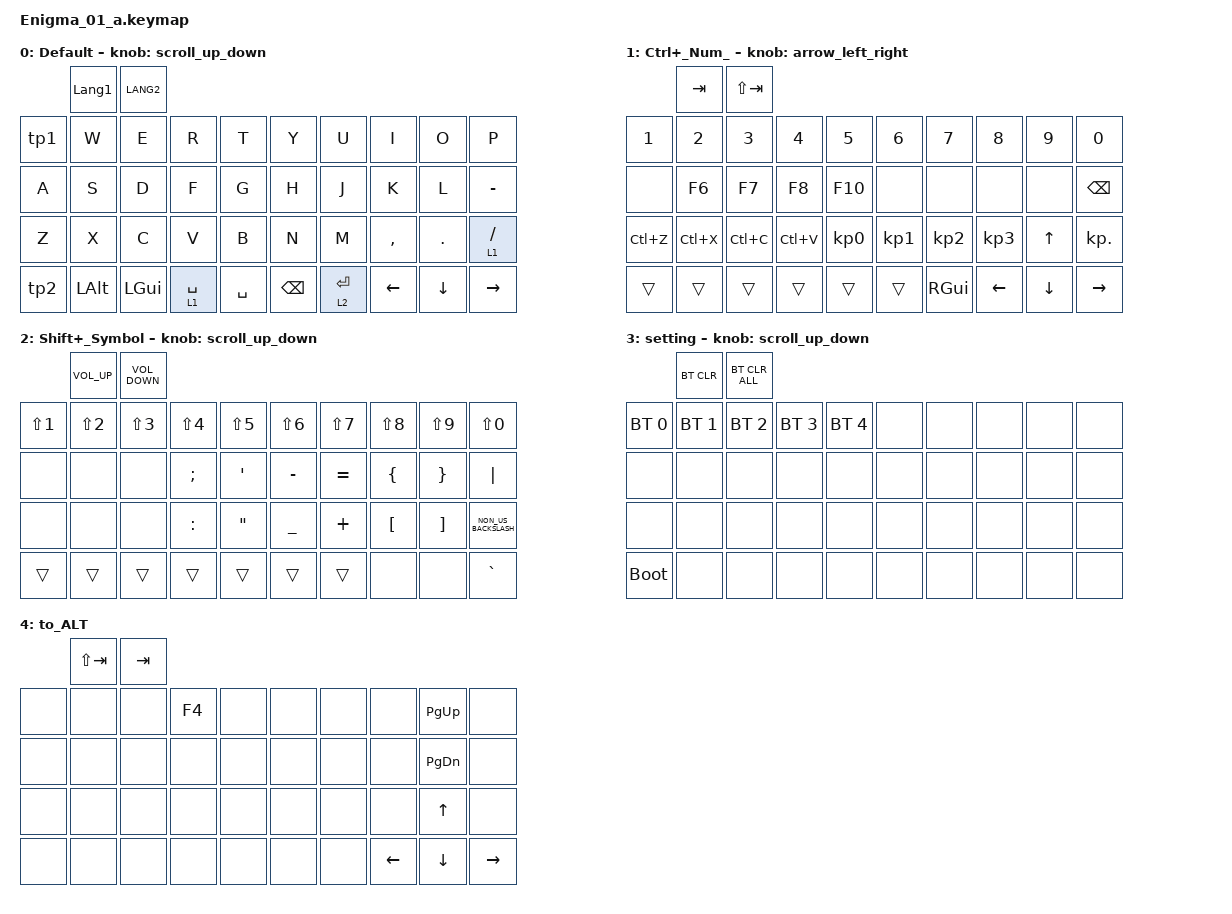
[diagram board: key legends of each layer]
#include <behaviors.dtsi>
#include <dt-bindings/zmk/bt.h>
#include <dt-bindings/zmk/keys.h>
#include <dt-bindings/zmk/pointing.h>

#define ZMK_POINTING_DEFAULT_SCRL_VAL 100

/ {
    // zmk-listeners

    layer_listeners {
        compatible = "zmk,layer-listeners";

        release_alt {
            layers = <4>;
            bindings = <&kt_on LEFT_ALT &kt_off LEFT_ALT>;
        };
    };

    macros {
        // zmk-listeners

        to_kp: to_kp {
            compatible = "zmk,behavior-macro-two-param";
            #binding-cells = <2>;
            bindings = <&macro_param_1to1 &to MACRO_PLACEHOLDER &macro_param_2to1 &kp MACRO_PLACEHOLDER>;
            label = "to_kp";
        };

        // zmk-listeners

        mo_to_0: mo_to_0 {
            compatible = "zmk,behavior-macro-one-param";
            wait-ms = <0>;
            tap-ms = <0>;
            #binding-cells = <1>;
            bindings =
                <&macro_press>,
                <&macro_param_1to1 &mo MACRO_PLACEHOLDER>,
                <&macro_tap>,
                <&macro_pause_for_release>,
                <&macro_release>,
                <&macro_param_1to1 &mo MACRO_PLACEHOLDER>,
                <&macro_tap>,
                <&to 0>;

            label = "MO_to_0";
        };
    };

    behaviors {
        // Layout shift

        original_key_press: original_key_press {
            compatible = "zmk,behavior-key-press";
            #binding-cells = <1>;
            label = "KEY_PRESS";
        };

        // Layout shift

        kp: key_press {
            compatible = "zmk,behavior-layout-shift-key-press";
            #binding-cells = <1>;
            label = "LAYOUT_SHIFT_KEY_PRESS";
        };

        // zmk-listeners

        kt_on: key_toggle_on_only {
            compatible = "zmk,behavior-key-toggle";
            #binding-cells = <1>;
            display-name = "Key Toggle On";
            toggle-mode = "on";
        };

        // zmk-listeners

        kt_off: key_toggle_off_only {
            compatible = "zmk,behavior-key-toggle";
            #binding-cells = <1>;
            display-name = "Key Toggle Off";
            toggle-mode = "off";
        };

        // zmk-listeners

        lt_to_0: lt_to_0 {
            compatible = "zmk,behavior-hold-tap";
            label = "LT_to_0";
            bindings = <&mo_to_0>, <&kp>;

            #binding-cells = <2>;
            tapping-term-ms = <200>;
            quick-tap-ms = <200>;
            flavor = "balanced";
        };

        scroll_up_down: behavior_sensor_rotate_mouse_wheel_up_down {
            compatible = "zmk,behavior-sensor-rotate";
            #sensor-binding-cells = <0>;
            bindings = <&msc SCRL_UP>, <&msc SCRL_DOWN>;

            tap-ms = <20>;
        };

        scroll_left_right: behavior_sensor_rotate_mouse_wheel_left_right {
            compatible = "zmk,behavior-sensor-rotate";
            #sensor-binding-cells = <0>;
            bindings = <&msc SCRL_LEFT>, <&msc SCRL_RIGHT>;

            tap-ms = <20>;
        };

        arrow_left_right: behavior_sensor_rotate_arrow_le {
            compatible = "zmk,behavior-sensor-rotate";
            #sensor-binding-cells = <0>;
            bindings = <&kp LEFT>, <&kp RIGHT>;

            tap-ms = <20>;
        };

        arrow_up_down: behavior_sensor_rotate_arrow_up {
            compatible = "zmk,behavior-sensor-rotate";
            #sensor-binding-cells = <0>;
            bindings = <&kp UP>, <&kp DOWN>;

            tap-ms = <20>;
        };

        page_up_down: behavior_sensor_rotate_page_up_ {
            compatible = "zmk,behavior-sensor-rotate";
            #sensor-binding-cells = <0>;
            bindings = <&kp PAGE_UP>, <&kp PAGE_DOWN>;

            tap-ms = <20>;
        };

        tp1: tab_ctrl_q {
            compatible = "zmk,behavior-tap-dance";
            label = "tab_ctrl_q";
            #binding-cells = <0>;
            bindings = <&mt LCTRL TAB>, <&kp Q>;
        };

        tp2: shift_ctrl {
            compatible = "zmk,behavior-tap-dance";
            label = "shift_ctrl";
            #binding-cells = <0>;
            bindings = <&kp LSHIFT>, <&kp LCTRL>;
        };

        tp4: f7_toALT_f8 {
            compatible = "zmk,behavior-tap-dance";
            label = "f7_toALT_f8";
            #binding-cells = <0>;
            bindings = <&lt_to_0 4 F7>, <&kp F8>;
        };

        tp3: hz_toALT {
            compatible = "zmk,behavior-tap-dance";
            label = "hz_toALT";
            #binding-cells = <0>;
            bindings = <&lt_to_0 4 GRAVE>;
        };
    };

    combos {
        compatible = "zmk,combos";

        mo_setting {
            bindings = <&mo 3>;
            key-positions = <36 35>;
        };
    };

    keymap {
        compatible = "zmk,keymap";

        Default {
            bindings = <
       &kp LANGUAGE_1  &kp LANG2
&tp1   &kp W           &kp E         &kp R        &kp T      &kp Y          &kp U        &kp I      &kp O     &kp P
&kp A  &kp S           &kp D         &kp F        &kp G      &kp H          &kp J        &kp K      &kp L     &kp MINUS
&kp Z  &kp X           &kp C         &kp V        &kp B      &kp N          &kp M        &kp COMMA  &kp DOT   &lt 1 SLASH
&tp2   &kp LEFT_ALT    &kp LEFT_GUI  &lt 1 SPACE  &kp SPACE  &kp BACKSPACE  &lt 2 ENTER  &kp LEFT   &kp DOWN  &kp RIGHT
            >;

            sensor-bindings = <&scroll_up_down>;
        };

        Ctrl+_Num_ {
            bindings = <
              &kp TAB       &kp LS(TAB)
&kp NUMBER_1  &kp NUMBER_2  &kp NUMBER_3  &kp NUMBER_4  &kp NUMBER_5     &kp NUMBER_6     &kp N7           &kp NUMBER_8     &kp NUMBER_9    &kp NUMBER_0
&none         &kp F6        &kp F7        &kp F8        &kp F10          &none            &none            &none            &none           &kp BACKSPACE
&kp LC(Z)     &kp LC(X)     &kp LC(C)     &kp LC(V)     &kp KP_NUMBER_0  &kp KP_NUMBER_1  &kp KP_NUMBER_2  &kp KP_NUMBER_3  &kp UP_ARROW    &kp KP_DOT
&trans        &trans        &trans        &trans        &trans           &trans           &kp RIGHT_GUI    &kp LEFT         &kp DOWN_ARROW  &kp RIGHT_ARROW
            >;

            sensor-bindings = <&arrow_left_right>;
        };

        Shift+_Symbol {
            bindings = <
                  &kp C_VOLUME_UP   &kp C_VOLUME_DOWN
&kp LS(NUMBER_1)  &kp LS(NUMBER_2)  &kp LS(NUMBER_3)   &kp LS(NUMBER_4)  &kp LS(NUMBER_5)   &kp LS(NUMBER_6)  &kp LS(NUMBER_7)  &kp LS(NUMBER_8)  &kp LS(NUMBER_9)   &kp LS(NUMBER_0)
&none             &none             &none              &kp SEMICOLON     &kp SQT            &kp MINUS         &kp EQUAL         &kp LEFT_BRACE    &kp RIGHT_BRACE    &kp PIPE
&none             &none             &none              &kp COLON         &kp DOUBLE_QUOTES  &kp UNDERSCORE    &kp PLUS          &kp LEFT_BRACKET  &kp RIGHT_BRACKET  &kp NON_US_BACKSLASH
&trans            &trans            &trans             &trans            &trans             &trans            &trans            &none             &none              &kp GRAVE
            >;

            sensor-bindings = <&scroll_up_down>;
        };

        setting {
            bindings = <
              &bt BT_CLR    &bt BT_CLR_ALL
&bt BT_SEL 0  &bt BT_SEL 1  &bt BT_SEL 2    &bt BT_SEL 3  &bt BT_SEL 4  &none  &none  &none  &none  &none
&none         &none         &none           &none         &none         &none  &none  &none  &none  &none
&none         &none         &none           &none         &none         &none  &none  &none  &none  &none
&bootloader   &none         &none           &none         &none         &none  &none  &none  &none  &none
            >;

            sensor-bindings = <&scroll_up_down>;
        };

        to_ALT {
            bindings = <
       &kp LS(TAB)  &kp TAB
&none  &none        &none    &kp F4  &none  &none  &none  &none     &kp PAGE_UP    &none
&none  &none        &none    &none   &none  &none  &none  &none     &kp PAGE_DOWN  &none
&none  &none        &none    &none   &none  &none  &none  &none     &kp UP         &none
&none  &none        &none    &none   &none  &none  &none  &kp LEFT  &kp DOWN       &kp RIGHT
            >;
        };
    };
};
